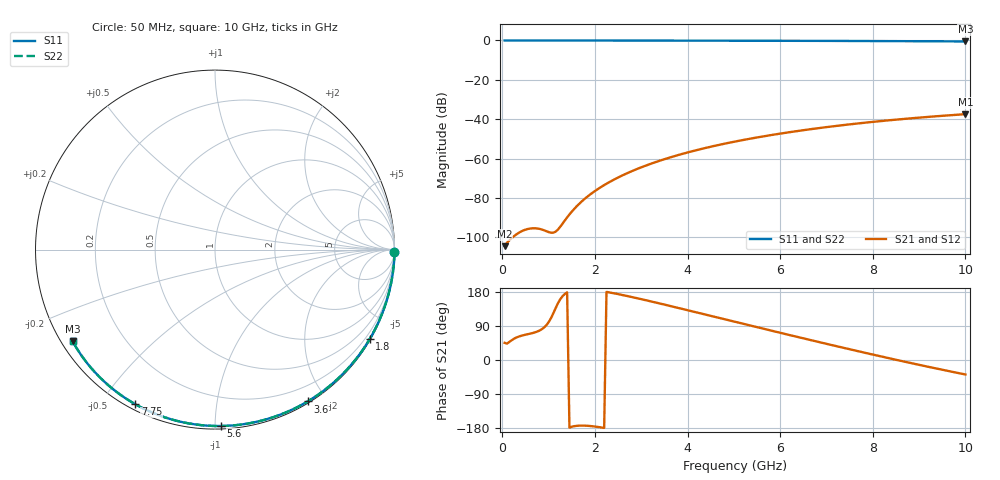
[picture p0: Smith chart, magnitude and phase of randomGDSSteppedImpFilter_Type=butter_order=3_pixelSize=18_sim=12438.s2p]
! freq	dB(S11)	phase(S11)	dB(S12)	phase(S12)
!  dB(S21)	phase(S21)	dB(S22)	phase(S22)
!S-par simulation data
#  GHz  S  DB  R 50
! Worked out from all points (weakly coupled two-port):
!   200 points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, 50 MHz to 10 GHz, reference 50 ohm
!   highest |S21| = -37.43 dB at 10 GHz (marker M1); lowest = -104.5 dB at 50 MHz (marker M2)
!   lowest |S11| = -0.5 dB at 10 GHz (marker M3), VSWR 34.60, Z = 1.57 - j14.7 ohm
!   |S11| at or under -10 dB: nowhere
!   |S22| runs from -0.5 to 0.0 dB; largest |S21 - S12| = 0
!   S11 on the Smith chart (normalised r, x): 50 MHz: open; 1.8 GHz: 0.03, -3.72; 3.6 GHz: 0.02, -1.78; 5.6 GHz: 0.02, -1.03; 7.75 GHz: 0.02, -0.61; 10 GHz: 0.03, -0.29
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0.05  -0.00 -0.8  -104.45 45.3  -104.45 45.3  -0.00 -0.9
0.45  -0.01 -7.6  -96.52 65.2  -96.52 65.2  -0.01 -7.6
0.9  -0.02 -15.2  -96.36 85.5  -96.36 85.5  -0.02 -15.2
1.75  -0.04 -29.2  -81.01 -173.1  -81.01 -173.1  -0.04 -29.3
1.8  -0.04 -30.1  -80.00 -173.3  -80.00 -173.3  -0.04 -30.1
1.95  -0.04 -32.5  -77.28 -174.8  -77.28 -174.8  -0.04 -32.5
2.1  -0.04 -34.9  -74.89 -177.3  -74.89 -177.3  -0.04 -35.0
2.3  -0.05 -38.2  -72.07 178.6  -72.07 178.6  -0.05 -38.2
2.5  -0.05 -41.4  -69.59 173.9  -69.59 173.9  -0.05 -41.4
2.9  -0.06 -47.7  -65.36 163.4  -65.36 163.4  -0.06 -47.8
3.4  -0.07 -55.5  -61.05 149.2  -61.05 149.2  -0.07 -55.6
3.6  -0.08 -58.6  -59.56 143.3  -59.56 143.3  -0.08 -58.7
4.3  -0.10 -69.2  -55.07 122.5  -55.07 122.5  -0.10 -69.2
5.05  -0.12 -80.2  -51.22 100.0  -51.22 100.0  -0.12 -80.3
5.6  -0.14 -88.0  -48.84 83.6  -48.84 83.6  -0.14 -88.1
6.15  -0.17 -95.7  -46.76 67.4  -46.76 67.4  -0.17 -95.8
6.7  -0.20 -103.3  -44.92 51.3  -44.92 51.3  -0.20 -103.3
7.2  -0.23 -110.0  -43.43 36.9  -43.43 36.9  -0.23 -110.1
7.75  -0.27 -117.3  -41.95 21.3  -41.95 21.3  -0.27 -117.4
8.35  -0.32 -125.2  -40.53 4.7  -40.53 4.7  -0.32 -125.3
9.2  -0.41 -136.4  -38.80 -18.0  -38.80 -18.0  -0.41 -136.5
10  -0.50 -147.1  -37.43 -38.2  -37.43 -38.2  -0.50 -147.2
